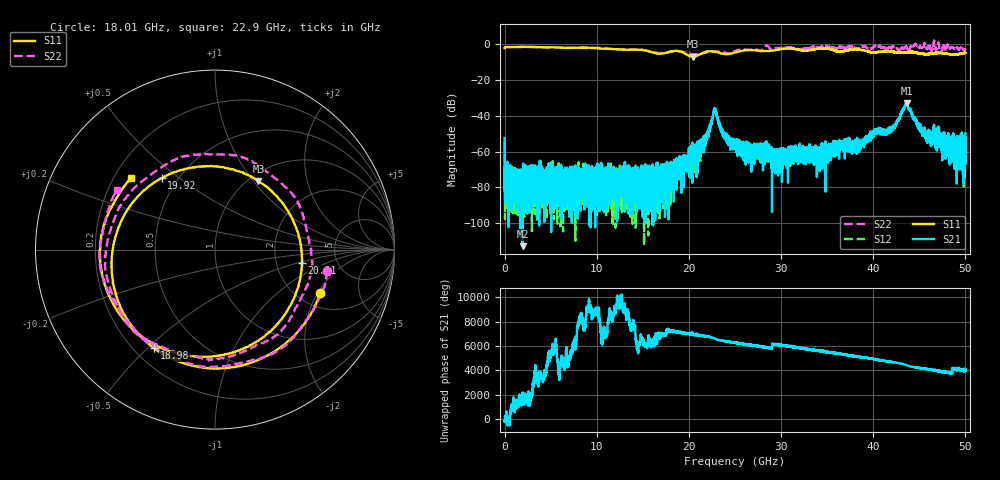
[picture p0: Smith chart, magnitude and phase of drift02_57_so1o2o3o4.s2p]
!Created with skrf (http://scikit-rf.org).
# Hz S RI R 50.0
!freq ReS11 ImS11 ReS21 ImS21 ReS12 ImS12 ReS22 ImS22
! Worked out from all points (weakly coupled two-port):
!   10001 points, 300 kHz to 50 GHz, reference 50 ohm
!   highest |S21| = -32.93 dB at 43.65 GHz (marker M1); lowest = -113.0 dB at 1.965 GHz (marker M2)
!   lowest |S11| = -6.9 dB at 20.41 GHz (marker M3), VSWR 2.65, Z = 55.4 + j53 ohm
!   |S11| at or under -10 dB: nowhere
!   |S22| runs from -5.7 to 2.2 dB; largest |S21 - S12| = 0.0041
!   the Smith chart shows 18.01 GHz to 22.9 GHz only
!   S11 on the Smith chart (normalised r, x): 18.01 GHz: 2.58, -2.10; 18.98 GHz: 0.28, -0.52; 19.92 GHz: 0.41, +0.43; 20.91 GHz: 2.81, -0.53; 22.9 GHz: 0.27, +0.34
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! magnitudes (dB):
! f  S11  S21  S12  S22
! 300 kHz  -2.1  -52.4  -54.5  -2.1
! 255.3 MHz  -1.4  -82.7  -77.8  -1.4
! 1.965 GHz  -1.3  -113.0  -79.9  -1.3
! 8.335 GHz  -1.7  -74.2  -79.3  -1.9
! 16.67 GHz  -5.2  -75.8  -73.5  -4.7
! 18.01 GHz  -4.0  -68.8  -68.7  -4.0
! 18.98 GHz  -3.8  -62.5  -66.5  -3.9
! 19.92 GHz  -6.1  -64.7  -65.0  -5.2
! 20.41 GHz  -6.9  -59.6  -61.4  -5.4
! 20.91 GHz  -6.2  -57.7  -58.4  -5.6
! 22.9 GHz  -4.2  -36.8  -37.0  -3.9
! 23.73 GHz  -5.2  -50.1  -50.6  -4.6
! 25 GHz  -4.5  -54.1  -54.4  -3.9
! 29.61 GHz  -3.0  -64.1  -62.2  -2.1
! 33.34 GHz  -3.0  -59.4  -61.2  -1.6
! 37.99 GHz  -2.8  -56.6  -55.9  -2.0
! 40.34 GHz  -4.4  -47.8  -49.5  -0.8
! 41.67 GHz  -3.9  -49.5  -48.8  -2.0
! 43.65 GHz  -4.4  -32.9  -33.5  -1.8
! 45.72 GHz  -5.5  -50.4  -51.8  -1.2
! 49.64 GHz  -5.0  -53.4  -61.2  -1.7
! 50 GHz  -4.7  -49.9  -55.0  -2.6
